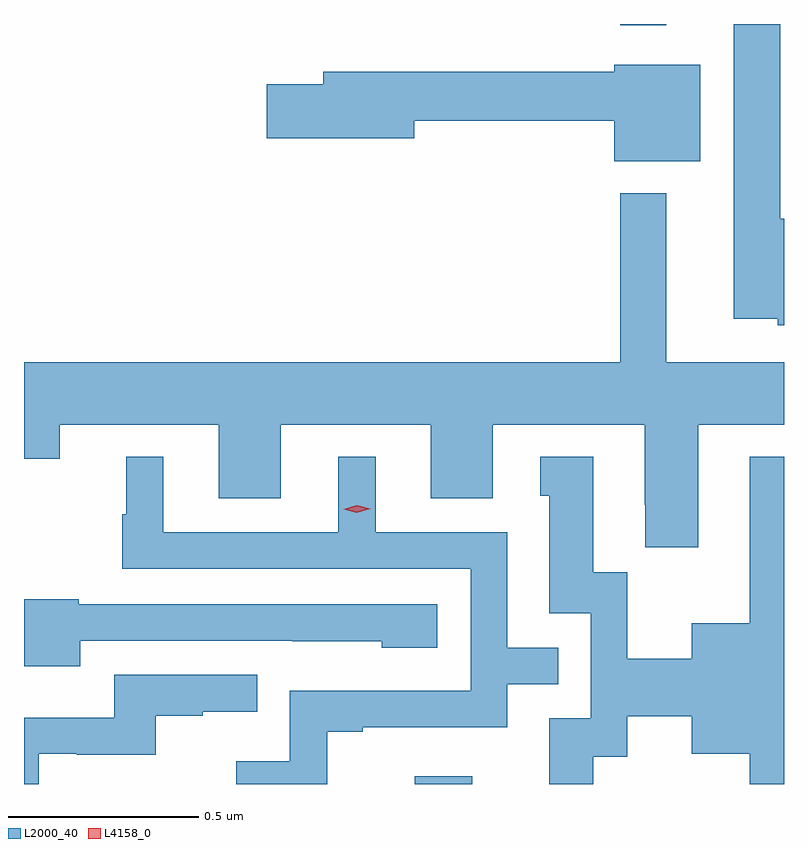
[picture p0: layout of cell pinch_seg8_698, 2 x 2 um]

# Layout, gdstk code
import gdstk
lib = gdstk.Library(unit=1e-6, precision=1e-09)
def R(c, l, rs):  # rectangles x0, y0, x1, y1
    for r in rs: c.add(gdstk.rectangle(r[:2], r[2:], *l))
def P(c, l, *ps):  # polygons
    for p in ps: c.add(gdstk.Polygon(p, *l))
L2000_40 = (2000, 40)
L4158_0 = (4158, 0)

pinch_seg8_698 = lib.new_cell('pinch_seg8_698')
R(pinch_seg8_698, L2000_40, [(337.997,1118.218,338.149,1118.239), (338.538,1120.215,338.659,1120.218)])
P(pinch_seg8_698, L2000_40, [(338.969,1119.706),(338.959,1119.706),(338.959,1120.218),(338.837,1120.218),(338.837,1119.443),(338.952,1119.443),(338.952,1119.425),(338.969,1119.425)],
  [(338.749,1120.111),(338.522,1120.111),(338.522,1120.093),(337.757,1120.093),(337.757,1120.059),(337.608,1120.059),(337.608,1119.917),(337.996,1119.917),(337.996,1119.964),(338.522,1119.964),(338.522,1119.857),(338.749,1119.857)],
  [(338.743,1119.164),(338.969,1119.164),(338.969,1119.328),(338.659,1119.328),(338.659,1119.772),(338.538,1119.772),(338.538,1119.328),(336.969,1119.328),(336.969,1119.074),(337.063,1119.074),(337.063,1119.164),(337.481,1119.164),(337.481,1118.97),(337.645,1118.97),(337.645,1119.164),(338.039,1119.164),(338.039,1118.97),(338.203,1118.97),(338.203,1119.164),(338.603,1119.164),(338.603,1118.953),(338.604,1118.953),(338.604,1118.841),(338.743,1118.841)],
  [(337.767,1118.355),(337.861,1118.355),(337.861,1118.367),(338.241,1118.367),(338.241,1118.481),(338.375,1118.481),(338.375,1118.577),(338.241,1118.577),(338.241,1118.88),(337.894,1118.88),(337.894,1119.079),(337.796,1119.079),(337.796,1118.88),(337.336,1118.88),(337.336,1119.079),(337.238,1119.079),(337.238,1118.928),(337.227,1118.928),(337.227,1118.784),(338.145,1118.784),(338.145,1118.463),(337.668,1118.463),(337.668,1118.278),(337.527,1118.278),(337.527,1118.218),(337.767,1118.218)],
  [(338.467,1118.29),(338.557,1118.29),(338.557,1118.396),(338.726,1118.396),(338.726,1118.297),(338.879,1118.297),(338.879,1118.218),(338.969,1118.218),(338.969,1119.079),(338.879,1119.079),(338.879,1118.641),(338.726,1118.641),(338.726,1118.548),(338.556,1118.548),(338.556,1118.775),(338.467,1118.775),(338.467,1119.079),(338.327,1119.079),(338.327,1118.976),(338.351,1118.976),(338.351,1118.667),(338.46,1118.667),(338.46,1118.391),(338.351,1118.391),(338.351,1118.218),(338.467,1118.218)],
  [(337.117,1118.595),(337.675,1118.595),(337.675,1118.594),(337.911,1118.594),(337.911,1118.576),(338.056,1118.576),(338.056,1118.691),(337.113,1118.691),(337.113,1118.704),(336.969,1118.704),(336.969,1118.528),(337.117,1118.528)],
  [(337.008,1118.298),(337.108,1118.298),(337.108,1118.295),(337.316,1118.295),(337.316,1118.397),(337.439,1118.397),(337.439,1118.408),(337.583,1118.408),(337.583,1118.505),(337.206,1118.505),(337.206,1118.393),(336.969,1118.393),(336.969,1118.218),(337.008,1118.218)])
P(pinch_seg8_698, L4158_0, [(337.845,1118.932),(337.81,1118.941),(337.809,1118.941),(337.81,1118.941),(337.845,1118.952),(337.88,1118.943),(337.881,1118.942),(337.88,1118.942)])

lib.write_gds('pinch_seg8_698.gds')
